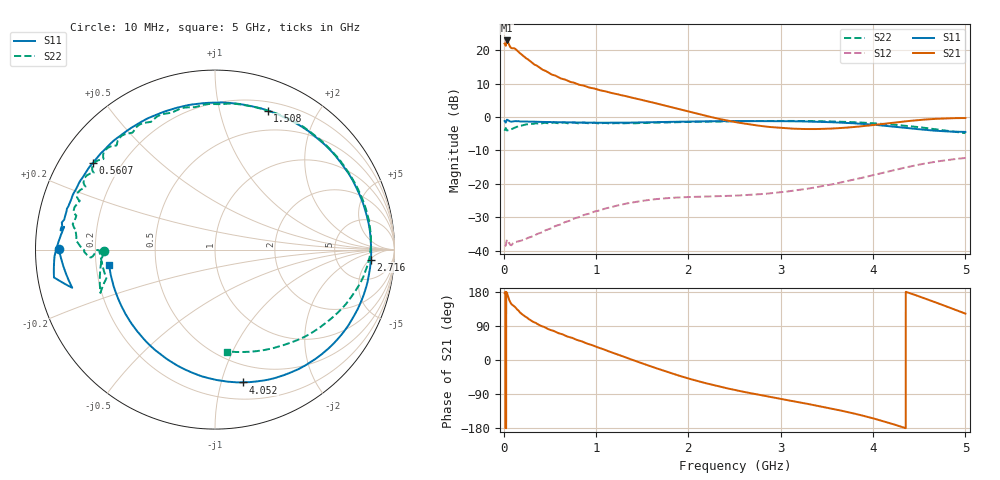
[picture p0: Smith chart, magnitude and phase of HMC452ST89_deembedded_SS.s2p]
!HMC452ST89 Small Signal S-parameters
!Reference planes Port1 input pin, Port2 output pin
!Vdd=5V, Idd=520mA
# MHz S MA R 50
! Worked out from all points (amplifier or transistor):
!   6000 points, 10 MHz to 5 GHz, reference 50 ohm
!   highest |S21| = 22.9 dB at 34.95 MHz (marker M1)
!   |S21| within 3 dB of that: start of sweep to 144.7 MHz
!   unconditionally stable (mu >= 1): start of sweep to 30.71 MHz; 50.81 MHz to end of sweep
!   at 841.8 MHz: K = 1.23, MAG = 16.7 dB, |S12| = -29.7 dB
!   at 2.505 GHz: K = 1.31, MAG = 7.7 dB, |S12| = -23.6 dB
!   at 5 GHz: K = 1.33, MAG = 2.6 dB, |S12| = -12.3 dB
!   S11 on the Smith chart (normalised r, x): 10 MHz: 0.07, +0.00; 560.7 MHz: 0.10, +0.31; 1.508 GHz: 0.29, +1.41; 2.716 GHz: 12, -5; 4.052 GHz: 0.34, -1.18; 5 GHz: 0.25, -0.07
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10  0.8693 179.9  12.54 177.0  0.01161 2.8  0.6209 -179.1
21.6453  0.8265 -166.0  11.7 -178.8  0.01186 12.3  0.6785 -160.6
34.9542  0.9105 -170.2  13.98 177.3  0.01451 13.9  0.6262 -165.2
53.2539  0.8825 179.4  12.51 163.2  0.01337 8.3  0.6356 -174.0
68.2264  0.8583 173.6  11.33 153.8  0.01234 4.6  0.6439 -178.8
84.0307  0.8501 171.5  10.74 147.4  0.01201 3.8  0.6554 -179.8
122.294  0.8671 172.9  10.54 140.0  0.0134 11.4  0.6929 -176.4
164.716  0.8627 169.5  9.296 129.0  0.01376 14.1  0.7285 -179.3
221.279  0.8545 166.3  8.044 116.6  0.01462 16.9  0.7572 177.9
311.945  0.8484 160.7  6.432 101.8  0.01632 20.2  0.7838 172.0
400.948  0.8436 155.1  5.338 90.4  0.01843 22.1  0.7957 166.4
560.655  0.8346 144.8  4.154 74.2  0.02331 22.1  0.819 156.0
841.805  0.8233 124.5  2.987 49.6  0.03269 14.0  0.8162 139.8
1114.64  0.8185 102.4  2.393 24.9  0.04302 -1.2  0.8093 119.3
1508.08  0.8286 69.2  1.779 -9.5  0.05552 -27.0  0.8107 89.3
1673.61  0.837 56.2  1.569 -23.4  0.05931 -38.2  0.8223 76.8
2505.42  0.8692 6.1  0.8404 -79.4  0.06632 -84.8  0.8621 26.5
2715.86  0.8703 -3.7  0.7543 -89.7  0.06883 -93.5  0.8689 18.3
3337.22  0.8511 -32.4  0.6586 -117.9  0.08629 -117.8  0.8665 0.1
4051.74  0.7563 -78.1  0.7706 -157.4  0.1398 -153.9  0.7973 -20.5
4169.03  0.7304 -88.0  0.805 -165.6  0.153 -161.8  0.7776 -25.2
5000  0.5971 -171.8  0.9622 122.4  0.2428 128.8  0.5717 -83.4
